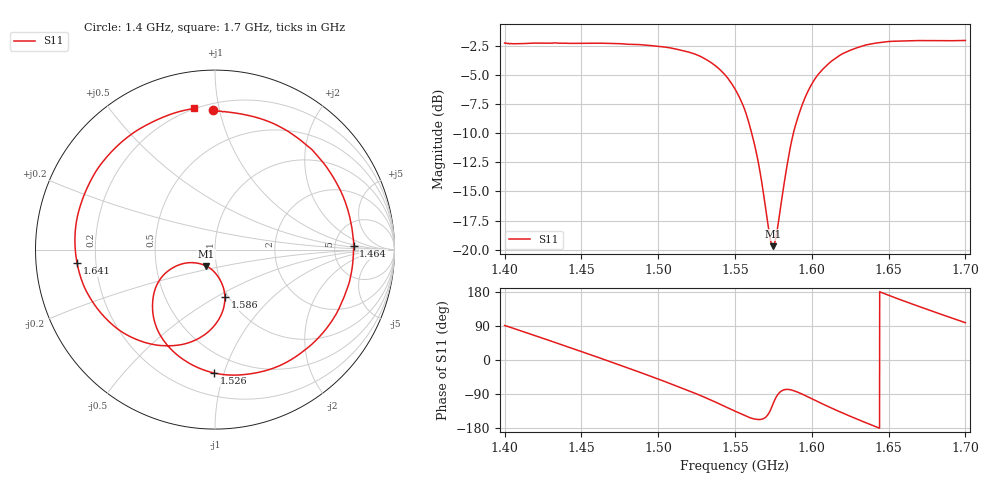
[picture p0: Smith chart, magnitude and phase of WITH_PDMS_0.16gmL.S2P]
!Keysight Technologies,E5063A,MY54503975,A.05.08
!Date: Fri Mar 07 05:02:40 2025
!Data & Calibration Information:
!Freq	S11:NONE(--)	S21:RESPT(ON)	S12:NONE(--)	S22:NONE(--)
# Hz S RI R 50
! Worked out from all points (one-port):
!   3001 points, 1.4 GHz to 1.7 GHz, reference 50 ohm
!   lowest |S11| = -19.7 dB at 1.575 GHz (marker M1), VSWR 1.23, Z = 44.7 - j8.3 ohm
!   |S11| at or under -10 dB: 1.561 GHz to 1.588 GHz (27.07 MHz wide, 1.72 % of centre)
!   S11 on the Smith chart (normalised r, x): 1.4 GHz: 0.25, +0.95; 1.464 GHz: 7.72, +0.83; 1.526 GHz: 0.36, -0.93; 1.586 GHz: 0.96, -0.55; 1.641 GHz: 0.13, -0.05; 1.7 GHz: 0.20, +0.84
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1.4e9  -0.0123 0.7751  -0 -0  0 0  0 0
1.4236e9  0.3977 0.6646  0 -0  0 0  0 0
1.45e9  0.7153 0.2921  -0 0  0 0  0 0
1.4645e9  0.7728 0.0217  -0 0  0 0  0 0
1.4829e9  0.6941 -0.3217  0 -0  0 0  0 0
1.5e9  0.4793 -0.5759  0 -0  0 0  0 0
1.5127e9  0.2517 -0.682  0 0  0 0  0 0
1.5256e9  -0.00561 -0.6874  0 0  0 0  0 0
1.5398e9  -0.2601 -0.539  0 0  0 0  0 0
1.55e9  -0.3468 -0.3479  0 -0  0 0  0 0
1.5621e9  -0.2672 -0.1235  0 0  0 0  0 0
1.5746e9  -0.0477 -0.0918  0 0  0 0  0 0
1.5772e9  -0.0106 -0.1179  0 0  0 0  0 0
1.5858e9  0.0551 -0.2655  0 0  0 0  0 0
1.6e9  -0.11 -0.5043  0 -0  0 0  0 0
1.6085e9  -0.2936 -0.535  0 -0  0 0  0 0
1.6176e9  -0.4864 -0.4776  -0 0  0 0  0 0
1.6296e9  -0.6774 -0.2981  -0 0  0 0  0 0
1.6406e9  -0.7682 -0.0767  -0 -0  0 0  0 0
1.65e9  -0.7763 0.1259  -0 -0  0 0  0 0
1.6764e9  -0.528 0.5925  -0 -0  0 0  0 0
1.7e9  -0.1162 0.7862  -0 -0  0 0  0 0
